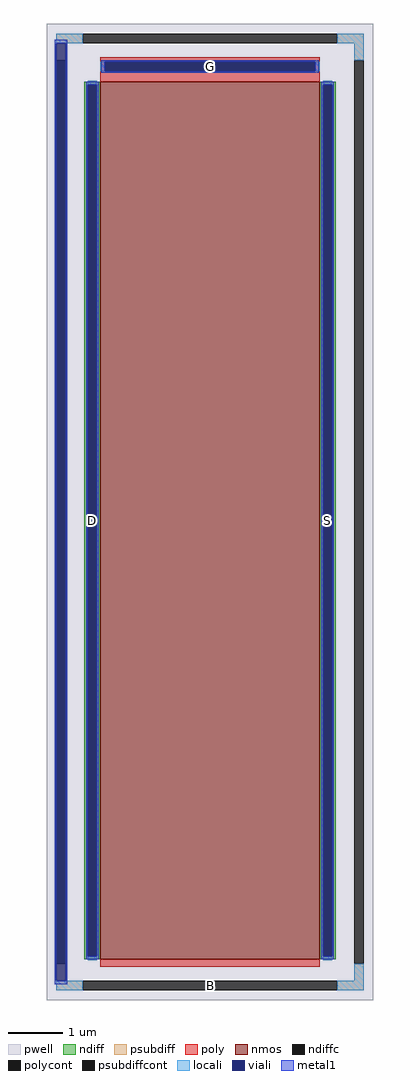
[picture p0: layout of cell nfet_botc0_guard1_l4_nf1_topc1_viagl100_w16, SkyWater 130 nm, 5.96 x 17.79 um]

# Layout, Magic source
magic
tech sky130A
magscale 1 2
<< pwell >>
rect -596 -1779 596 1779
<< nmos >>
rect -400 -1631 400 1569
<< ndiff >>
rect -458 1557 -400 1569
rect -458 -1619 -446 1557
rect -412 -1619 -400 1557
rect -458 -1631 -400 -1619
rect 400 1557 458 1569
rect 400 -1619 412 1557
rect 446 -1619 458 1557
rect 400 -1631 458 -1619
<< ndiffc >>
rect -446 -1619 -412 1557
rect 412 -1619 446 1557
<< psubdiff >>
rect -560 1709 -464 1743
rect 464 1709 560 1743
rect -560 1647 -526 1709
rect 526 1647 560 1709
rect -560 -1709 -526 -1647
rect 526 -1709 560 -1647
rect -560 -1743 -464 -1709
rect 464 -1743 560 -1709
<< psubdiffcont >>
rect -464 1709 464 1743
rect -560 -1647 -526 1647
rect 526 -1647 560 1647
rect -464 -1743 464 -1709
<< poly >>
rect -400 1641 400 1657
rect -400 1607 -384 1641
rect 384 1607 400 1641
rect -400 1569 400 1607
rect -400 -1657 400 -1631
<< polycont >>
rect -384 1607 384 1641
<< locali >>
rect -560 1709 -464 1743
rect 464 1709 560 1743
rect 526 1647 560 1709
rect -400 1607 -384 1641
rect 384 1607 400 1641
rect -446 1557 -412 1573
rect -446 -1635 -412 -1619
rect 412 1557 446 1573
rect 412 -1635 446 -1619
rect 526 -1709 560 -1647
rect -560 -1743 -464 -1709
rect 464 -1743 560 -1709
<< viali >>
rect -560 1647 -526 1709
rect -560 -1647 -526 1647
rect -384 1607 384 1641
rect -446 -1619 -412 1557
rect 412 -1619 446 1557
rect -560 -1709 -526 -1647
<< metal1 >>
rect -566 1709 -520 1721
rect -566 -1709 -560 1709
rect -526 -1709 -520 1709
rect -396 1641 396 1647
rect -396 1607 -384 1641
rect 384 1607 396 1641
rect -396 1601 396 1607
rect -452 1557 -406 1569
rect -452 -1619 -446 1557
rect -412 -1619 -406 1557
rect -452 -1631 -406 -1619
rect 406 1557 452 1569
rect 406 -1619 412 1557
rect 446 -1619 452 1557
rect 406 -1631 452 -1619
rect -566 -1721 -520 -1709
<< labels >>
rlabel psubdiffcont 0 -1726 0 -1726 0 B
port 1 nsew
rlabel ndiffc -429 -31 -429 -31 0 D
port 2 nsew
rlabel ndiffc 429 -31 429 -31 0 S
port 3 nsew
rlabel polycont 0 1624 0 1624 0 G
port 4 nsew
<< properties >>
string FIXED_BBOX -543 -1726 543 1726
string gencell sky130_fd_pr__nfet_01v8
string library sky130
string parameters w 16 l 4 m 1 nf 1 diffcov 100 polycov 100 guard 1 glc 1 grc 1 gtc 1 gbc 1 tbcov 100 rlcov 100 topc 1 botc 0 poverlap 0 doverlap 1 lmin 0.15 wmin 0.42 class mosfet compatible {sky130_fd_pr__nfet_01v8 sky130_fd_pr__nfet_01v8_lvt  sky130_fd_bs_flash__special_sonosfet_star  sky130_fd_pr__nfet_g5v0d10v5 sky130_fd_pr__nfet_05v0_nvt  sky130_fd_pr__nfet_03v3_nvt} full_metal 1 conn_gates 0 viasrc 100 viadrn 100 viagate 100 viagb 0 viagr 0 viagl 100 viagt 0 doports 1
<< end >>
